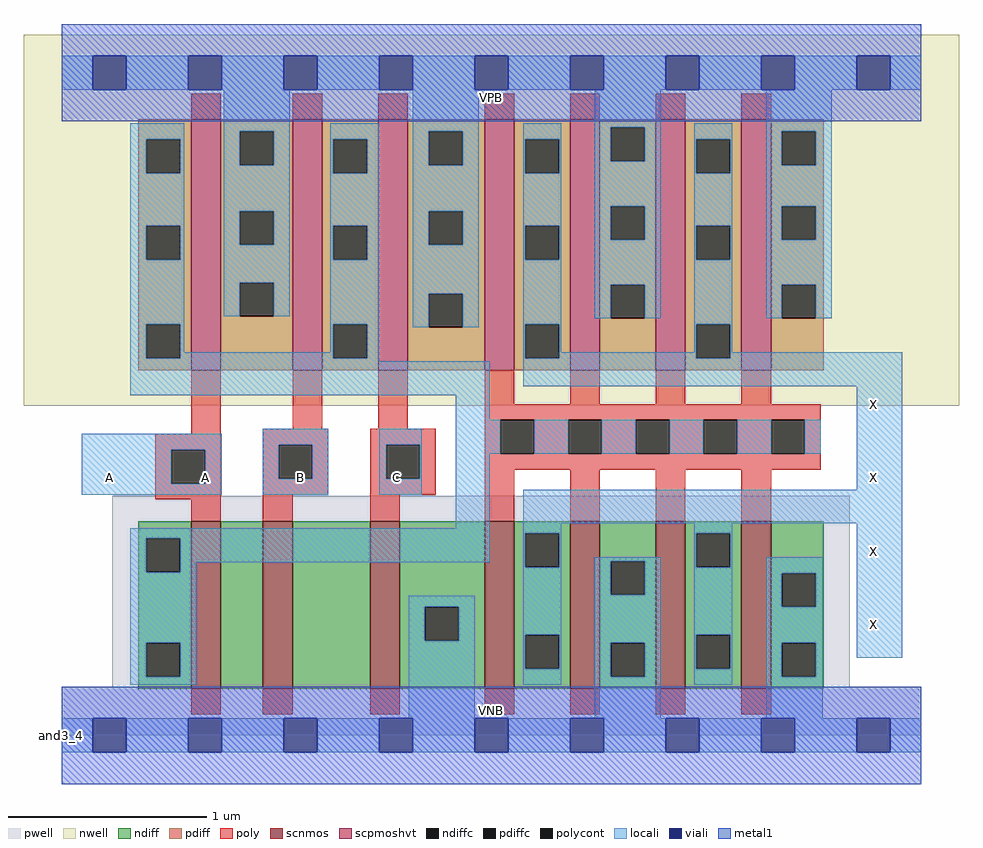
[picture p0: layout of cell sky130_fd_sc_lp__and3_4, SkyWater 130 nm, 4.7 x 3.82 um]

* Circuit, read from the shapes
.subckt sky130_fd_sc_lp__and3_4 A B C VGND VNB VPB VPWR X
XM1 n1 A n2 VNB sky130_fd_pr__nfet_01v8 w=0.84 l=0.15
XM2 n3 B n1 VNB sky130_fd_pr__nfet_01v8 w=0.84 l=0.15
XM3 VGND C n3 VNB sky130_fd_pr__nfet_01v8 w=0.84 l=0.15
XM4 X n2 VGND VNB sky130_fd_pr__nfet_01v8 w=0.84 l=0.15 m=4
XM5 VPWR A n2 VPB sky130_fd_pr__pfet_01v8_hvt w=1.26 l=0.15
XM6 n2 B VPWR VPB sky130_fd_pr__pfet_01v8_hvt w=1.26 l=0.15
XM7 VPWR C n2 VPB sky130_fd_pr__pfet_01v8_hvt w=1.26 l=0.15
XM8 X n2 VPWR VPB sky130_fd_pr__pfet_01v8_hvt w=1.26 l=0.15 m=4
.ends

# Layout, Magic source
magic
tech sky130A
magscale 1 2
<< nwell >>
rect -38 331 902 704
<< pwell >>
rect 51 49 792 241
rect 0 0 864 49
<< scnmos >>
rect 130 47 160 215
rect 202 47 232 215
rect 310 47 340 215
rect 425 47 455 215
rect 511 47 541 215
rect 597 47 627 215
rect 683 47 713 215
<< scpmoshvt >>
rect 130 367 160 619
rect 232 367 262 619
rect 318 367 348 619
rect 425 367 455 619
rect 511 367 541 619
rect 597 367 627 619
rect 683 367 713 619
<< ndiff >>
rect 77 198 130 215
rect 77 164 85 198
rect 119 164 130 198
rect 77 93 130 164
rect 77 59 85 93
rect 119 59 130 93
rect 77 47 130 59
rect 160 47 202 215
rect 232 47 310 215
rect 340 129 425 215
rect 340 95 365 129
rect 399 95 425 129
rect 340 47 425 95
rect 455 203 511 215
rect 455 169 466 203
rect 500 169 511 203
rect 455 101 511 169
rect 455 67 466 101
rect 500 67 511 101
rect 455 47 511 67
rect 541 175 597 215
rect 541 141 552 175
rect 586 141 597 175
rect 541 93 597 141
rect 541 59 552 93
rect 586 59 597 93
rect 541 47 597 59
rect 627 203 683 215
rect 627 169 638 203
rect 672 169 683 203
rect 627 101 683 169
rect 627 67 638 101
rect 672 67 683 101
rect 627 47 683 67
rect 713 163 766 215
rect 713 129 724 163
rect 758 129 766 163
rect 713 93 766 129
rect 713 59 724 93
rect 758 59 766 93
rect 713 47 766 59
<< pdiff >>
rect 77 599 130 619
rect 77 565 85 599
rect 119 565 130 599
rect 77 512 130 565
rect 77 478 85 512
rect 119 478 130 512
rect 77 413 130 478
rect 77 379 85 413
rect 119 379 130 413
rect 77 367 130 379
rect 160 607 232 619
rect 160 573 179 607
rect 213 573 232 607
rect 160 527 232 573
rect 160 493 179 527
rect 213 493 232 527
rect 160 455 232 493
rect 160 421 179 455
rect 213 421 232 455
rect 160 367 232 421
rect 262 599 318 619
rect 262 565 273 599
rect 307 565 318 599
rect 262 512 318 565
rect 262 478 273 512
rect 307 478 318 512
rect 262 413 318 478
rect 262 379 273 413
rect 307 379 318 413
rect 262 367 318 379
rect 348 607 425 619
rect 348 573 369 607
rect 403 573 425 607
rect 348 527 425 573
rect 348 493 369 527
rect 403 493 425 527
rect 348 444 425 493
rect 348 410 369 444
rect 403 410 425 444
rect 348 367 425 410
rect 455 599 511 619
rect 455 565 466 599
rect 500 565 511 599
rect 455 512 511 565
rect 455 478 466 512
rect 500 478 511 512
rect 455 413 511 478
rect 455 379 466 413
rect 500 379 511 413
rect 455 367 511 379
rect 541 611 597 619
rect 541 577 552 611
rect 586 577 597 611
rect 541 532 597 577
rect 541 498 552 532
rect 586 498 597 532
rect 541 453 597 498
rect 541 419 552 453
rect 586 419 597 453
rect 541 367 597 419
rect 627 599 683 619
rect 627 565 638 599
rect 672 565 683 599
rect 627 512 683 565
rect 627 478 638 512
rect 672 478 683 512
rect 627 413 683 478
rect 627 379 638 413
rect 672 379 683 413
rect 627 367 683 379
rect 713 607 766 619
rect 713 573 724 607
rect 758 573 766 607
rect 713 532 766 573
rect 713 498 724 532
rect 758 498 766 532
rect 713 453 766 498
rect 713 419 724 453
rect 758 419 766 453
rect 713 367 766 419
<< ndiffc >>
rect 85 164 119 198
rect 85 59 119 93
rect 365 95 399 129
rect 466 169 500 203
rect 466 67 500 101
rect 552 141 586 175
rect 552 59 586 93
rect 638 169 672 203
rect 638 67 672 101
rect 724 129 758 163
rect 724 59 758 93
<< pdiffc >>
rect 85 565 119 599
rect 85 478 119 512
rect 85 379 119 413
rect 179 573 213 607
rect 179 493 213 527
rect 179 421 213 455
rect 273 565 307 599
rect 273 478 307 512
rect 273 379 307 413
rect 369 573 403 607
rect 369 493 403 527
rect 369 410 403 444
rect 466 565 500 599
rect 466 478 500 512
rect 466 379 500 413
rect 552 577 586 611
rect 552 498 586 532
rect 552 419 586 453
rect 638 565 672 599
rect 638 478 672 512
rect 638 379 672 413
rect 724 573 758 607
rect 724 498 758 532
rect 724 419 758 453
<< poly >>
rect 130 619 160 645
rect 232 619 262 645
rect 318 619 348 645
rect 425 619 455 645
rect 511 619 541 645
rect 597 619 627 645
rect 683 619 713 645
rect 130 303 160 367
rect 232 308 262 367
rect 318 308 348 367
rect 425 333 455 367
rect 511 333 541 367
rect 597 333 627 367
rect 683 333 713 367
rect 425 317 763 333
rect 94 287 160 303
rect 94 253 110 287
rect 144 253 160 287
rect 94 237 160 253
rect 130 215 160 237
rect 202 292 268 308
rect 202 258 218 292
rect 252 258 268 292
rect 202 242 268 258
rect 310 292 376 308
rect 310 258 326 292
rect 360 258 376 292
rect 310 242 376 258
rect 425 283 441 317
rect 475 283 509 317
rect 543 283 577 317
rect 611 283 645 317
rect 679 283 713 317
rect 747 283 763 317
rect 425 267 763 283
rect 202 215 232 242
rect 310 215 340 242
rect 425 215 455 267
rect 511 215 541 267
rect 597 215 627 267
rect 683 215 713 267
rect 130 21 160 47
rect 202 21 232 47
rect 310 21 340 47
rect 425 21 455 47
rect 511 21 541 47
rect 597 21 627 47
rect 683 21 713 47
<< polycont >>
rect 110 253 144 287
rect 218 258 252 292
rect 326 258 360 292
rect 441 283 475 317
rect 509 283 543 317
rect 577 283 611 317
rect 645 283 679 317
rect 713 283 747 317
<< locali >>
rect 0 649 31 683
rect 65 649 127 683
rect 161 649 223 683
rect 257 649 319 683
rect 353 649 415 683
rect 449 649 511 683
rect 545 649 607 683
rect 641 649 703 683
rect 737 649 799 683
rect 833 649 864 683
rect 69 599 123 615
rect 69 565 85 599
rect 119 565 123 599
rect 69 512 123 565
rect 69 478 85 512
rect 119 478 123 512
rect 69 413 123 478
rect 163 607 229 649
rect 163 573 179 607
rect 213 573 229 607
rect 163 527 229 573
rect 163 493 179 527
rect 213 493 229 527
rect 163 455 229 493
rect 163 421 179 455
rect 213 421 229 455
rect 270 599 319 615
rect 270 565 273 599
rect 307 565 319 599
rect 270 512 319 565
rect 270 478 273 512
rect 307 478 319 512
rect 69 379 85 413
rect 119 385 123 413
rect 270 413 319 478
rect 270 385 273 413
rect 119 379 273 385
rect 307 379 319 413
rect 353 607 419 649
rect 353 573 369 607
rect 403 573 419 607
rect 353 527 419 573
rect 353 493 369 527
rect 403 493 419 527
rect 353 444 419 493
rect 353 410 369 444
rect 403 410 419 444
rect 464 599 502 615
rect 464 565 466 599
rect 500 565 502 599
rect 464 512 502 565
rect 464 478 466 512
rect 500 478 502 512
rect 464 413 502 478
rect 536 611 602 649
rect 536 577 552 611
rect 586 577 602 611
rect 536 532 602 577
rect 536 498 552 532
rect 586 498 602 532
rect 536 453 602 498
rect 536 419 552 453
rect 586 419 602 453
rect 636 599 674 615
rect 636 565 638 599
rect 672 565 674 599
rect 636 512 674 565
rect 636 478 638 512
rect 672 478 674 512
rect 69 376 319 379
rect 464 379 466 413
rect 500 385 502 413
rect 636 413 674 478
rect 708 607 774 649
rect 708 573 724 607
rect 758 573 774 607
rect 708 532 774 573
rect 708 498 724 532
rect 758 498 774 532
rect 708 453 774 498
rect 708 419 724 453
rect 758 419 774 453
rect 636 385 638 413
rect 500 379 638 385
rect 672 385 674 413
rect 672 379 845 385
rect 69 342 430 376
rect 464 351 845 379
rect 396 317 430 342
rect 20 287 161 303
rect 20 253 110 287
rect 144 253 161 287
rect 20 242 161 253
rect 202 292 268 308
rect 202 258 218 292
rect 252 258 268 292
rect 202 242 268 258
rect 319 292 362 308
rect 319 258 326 292
rect 360 258 362 292
rect 319 242 362 258
rect 396 283 441 317
rect 475 283 509 317
rect 543 283 577 317
rect 611 283 645 317
rect 679 283 713 317
rect 747 283 763 317
rect 396 208 430 283
rect 799 247 845 351
rect 69 198 430 208
rect 69 164 85 198
rect 119 174 430 198
rect 464 213 845 247
rect 464 203 502 213
rect 119 164 135 174
rect 69 93 135 164
rect 464 169 466 203
rect 500 169 502 203
rect 636 203 674 213
rect 69 59 85 93
rect 119 59 135 93
rect 69 51 135 59
rect 349 129 415 140
rect 349 95 365 129
rect 399 95 415 129
rect 349 17 415 95
rect 464 101 502 169
rect 464 67 466 101
rect 500 67 502 101
rect 464 51 502 67
rect 536 175 602 179
rect 536 141 552 175
rect 586 141 602 175
rect 536 93 602 141
rect 536 59 552 93
rect 586 59 602 93
rect 536 17 602 59
rect 636 169 638 203
rect 672 169 674 203
rect 636 101 674 169
rect 636 67 638 101
rect 672 67 674 101
rect 636 51 674 67
rect 708 163 765 179
rect 708 129 724 163
rect 758 129 765 163
rect 708 93 765 129
rect 708 59 724 93
rect 758 59 765 93
rect 799 78 845 213
rect 708 17 765 59
rect 0 -17 31 17
rect 65 -17 127 17
rect 161 -17 223 17
rect 257 -17 319 17
rect 353 -17 415 17
rect 449 -17 511 17
rect 545 -17 607 17
rect 641 -17 703 17
rect 737 -17 799 17
rect 833 -17 864 17
<< viali >>
rect 31 649 65 683
rect 127 649 161 683
rect 223 649 257 683
rect 319 649 353 683
rect 415 649 449 683
rect 511 649 545 683
rect 607 649 641 683
rect 703 649 737 683
rect 799 649 833 683
rect 31 -17 65 17
rect 127 -17 161 17
rect 223 -17 257 17
rect 319 -17 353 17
rect 415 -17 449 17
rect 511 -17 545 17
rect 607 -17 641 17
rect 703 -17 737 17
rect 799 -17 833 17
<< metal1 >>
rect 0 683 864 715
rect 0 649 31 683
rect 65 649 127 683
rect 161 649 223 683
rect 257 649 319 683
rect 353 649 415 683
rect 449 649 511 683
rect 545 649 607 683
rect 641 649 703 683
rect 737 649 799 683
rect 833 649 864 683
rect 0 617 864 649
rect 0 17 864 49
rect 0 -17 31 17
rect 65 -17 127 17
rect 161 -17 223 17
rect 257 -17 319 17
rect 353 -17 415 17
rect 449 -17 511 17
rect 545 -17 607 17
rect 641 -17 703 17
rect 737 -17 799 17
rect 833 -17 864 17
rect 0 -49 864 -17
<< labels >>
flabel pwell s 0 0 864 49 0 FreeSans 200 0 0 0 VNB
port 5 nsew ground bidirectional
flabel nwell s 0 617 864 666 0 FreeSans 200 0 0 0 VPB
port 6 nsew power bidirectional
rlabel comment s 0 0 0 0 4 and3_4
flabel metal1 s 0 617 864 666 0 FreeSans 340 0 0 0 VPWR
port 7 nsew power bidirectional
flabel metal1 s 0 0 864 49 0 FreeSans 340 0 0 0 VGND
port 4 nsew ground bidirectional
flabel locali s 31 242 65 276 0 FreeSans 340 0 0 0 A
port 1 nsew signal input
flabel locali s 127 242 161 276 0 FreeSans 340 0 0 0 A
port 1 nsew signal input
flabel locali s 223 242 257 276 0 FreeSans 340 0 0 0 B
port 2 nsew signal input
flabel locali s 319 242 353 276 0 FreeSans 340 0 0 0 C
port 3 nsew signal input
flabel locali s 799 94 833 128 0 FreeSans 340 0 0 0 X
port 8 nsew signal output
flabel locali s 799 168 833 202 0 FreeSans 340 0 0 0 X
port 8 nsew signal output
flabel locali s 799 242 833 276 0 FreeSans 340 0 0 0 X
port 8 nsew signal output
flabel locali s 799 316 833 350 0 FreeSans 340 0 0 0 X
port 8 nsew signal output
<< properties >>
string LEFsite unit
string LEFclass CORE
string FIXED_BBOX 0 0 864 666
string GDS_FILE $PDKPATH/libs.ref/sky130_fd_sc_lp/gds/sky130_fd_sc_lp.gds
string LEFsymmetry X Y R90
string GDS_END 5182190
string GDS_START 5174338
<< end >>
